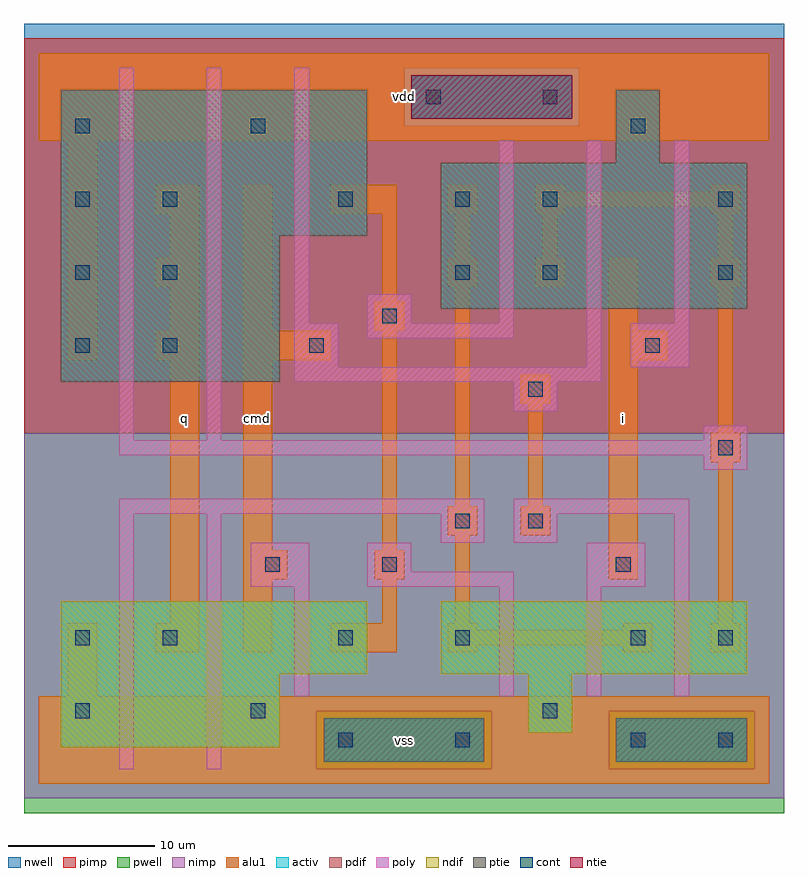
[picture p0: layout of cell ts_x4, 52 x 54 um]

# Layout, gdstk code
import gdstk
lib = gdstk.Library(unit=1e-6, precision=1e-09)
def R(c, l, rs):  # rectangles x0, y0, x1, y1
    for r in rs: c.add(gdstk.rectangle(r[:2], r[2:], *l))
def A(c, l, x, y, w, h, nx, ny, dx, dy):  # array of equal rectangles
    R(c, l, [(x+i*dx, y+j*dy, x+i*dx+w, y+j*dy+h) for i in range(nx) for j in range(ny)])
ndif = (3, 0)
pdif = (4, 0)
ntie = (5, 0)
ptie = (6, 0)
cont = (25, 0)
pwell = (41, 0)
nwell = (42, 0)
activ = (43, 0)
pimp = (44, 0)
nimp = (45, 0)
poly = (46, 0)
alu1 = (49, 0)

ts_x4 = lib.new_cell('ts_x4')
R(ts_x4, ndif, [(1.5,2.5,16.5,7.5), (33.5,3.5,36.5,7.5), (1.5,7.5,22.5,12.5), (27.5,7.5,48.5,12.5)])
R(ts_x4, pdif, [(1.5,27.5,16.5,37.5), (27.5,32.5,48.5,42.5), (1.5,37.5,22.5,47.5), (39.5,42.5,42.5,47.5)])
R(ts_x4, ntie, [(25.5,45.5,36.5,48.5)])
R(ts_x4, ptie, [(19.5,1.5,30.5,4.5), (39.5,1.5,48.5,4.5)])
A(ts_x4, cont, 2.5, 29.5, 1, 1, 1, 4, 0, 5)
A(ts_x4, cont, 8.5, 29.5, 1, 1, 1, 3, 0, 5)
R(ts_x4, cont, [(20.5,2.5,21.5,3.5), (28.5,2.5,29.5,3.5), (40.5,2.5,41.5,3.5), (46.5,2.5,47.5,3.5), (2.5,4.5,3.5,5.5), (14.5,4.5,15.5,5.5), (34.5,4.5,35.5,5.5), (2.5,9.5,3.5,10.5), (8.5,9.5,9.5,10.5), (20.5,9.5,21.5,10.5), (28.5,9.5,29.5,10.5), (40.5,9.5,41.5,10.5), (46.5,9.5,47.5,10.5), (15.5,14.5,16.5,15.5), (23.5,14.5,24.5,15.5), (39.5,14.5,40.5,15.5), (28.5,17.5,29.5,18.5), (33.5,17.5,34.5,18.5), (46.5,22.5,47.5,23.5), (33.5,26.5,34.5,27.5), (18.5,29.5,19.5,30.5), (41.5,29.5,42.5,30.5), (23.5,31.5,24.5,32.5), (28.5,34.5,29.5,35.5), (34.5,34.5,35.5,35.5), (46.5,34.5,47.5,35.5), (20.5,39.5,21.5,40.5), (28.5,39.5,29.5,40.5), (34.5,39.5,35.5,40.5), (46.5,39.5,47.5,40.5), (14.5,44.5,15.5,45.5), (40.5,44.5,41.5,45.5), (26.5,46.5,27.5,47.5), (34.5,46.5,35.5,47.5)])
R(ts_x4, pwell, [(-1,-2,51,24)])
R(ts_x4, nwell, [(-1,24,51,52)])
R(ts_x4, activ, [(19.5,1.5,30.5,4.5), (39.5,1.5,48.5,4.5), (1.5,2.5,16.5,7.5), (33.5,3.5,36.5,7.5), (1.5,7.5,22.5,12.5), (27.5,7.5,48.5,12.5), (1.5,27.5,16.5,37.5), (27.5,32.5,48.5,42.5), (1.5,37.5,22.5,47.5), (39.5,42.5,42.5,47.5), (25.5,45.5,36.5,48.5)])
R(ts_x4, pimp, [(19,1,31,5), (39,1,49,5), (-1,24,51,45), (-1,45,25,49), (37,45,51,49), (-1,49,51,51)])
R(ts_x4, nimp, [(-1,-1,51,1), (-1,1,19,5), (31,1,39,5), (49,1,51,5), (-1,5,51,24), (25,45,37,49)])
R(ts_x4, poly, [(5.5,1,6.5,18.5), (11.5,1,12.5,18.5), (17.5,6,18.5,13.5), (31.5,6,32.5,13.5), (37.5,6,38.5,13.5), (43.5,6,44.5,18.5), (14.5,13.5,18.5,16.5), (22.5,13.5,32.5,14.5), (37.5,13.5,41.5,16.5), (22.5,14.5,25.5,16.5), (27.5,16.5,30.5,18.5), (32.5,16.5,35.5,18.5), (5.5,18.5,30.5,19.5), (32.5,18.5,44.5,19.5), (45.5,21.5,48.5,22.5), (5.5,22.5,48.5,23.5), (5.5,23.5,6.5,49), (11.5,23.5,12.5,49), (45.5,23.5,48.5,24.5), (32.5,25.5,35.5,27.5), (17.5,27.5,38.5,28.5), (17.5,28.5,20.5,31.5), (37.5,28.5,38.5,44), (40.5,28.5,44.5,31.5), (22.5,30.5,32.5,31.5), (17.5,31.5,18.5,49), (22.5,31.5,25.5,33.5), (31.5,31.5,32.5,44), (43.5,31.5,44.5,44)])
A(ts_x4, alu1, 8, 29, 3, 2, 1, 3, 0, 5)
R(ts_x4, alu1, [(0,0,50,6), (2,6,4,11), (8,9,11,11), (14,9,16,14), (20,9,24.5,11), (28,9,30,9.5), (40,9,42,9.5), (46,9,48,11), (28,9.5,42,10.5), (28,10.5,30,11), (40,10.5,42,11), (9,11,11,29), (23.5,11,24.5,14), (28.5,11,29.5,17), (46.5,11,47.5,22), (14,14,17,16), (23,14,25,16), (39,14,41,29), (14,16,16,29), (23.5,16,24.5,31), (28,17,30,19), (33,17,35,19), (28.5,19,29.5,34), (33.5,19,34.5,26), (46,22,48,24), (46.5,24,47.5,34), (33,26,35,28), (2,29,4,44), (14,29,20,31), (39,29,43,31), (9,31,11,34), (14,31,16,41), (23,31,25,33), (39,31,41,36), (23.5,33,24.5,39), (28,34,30,36), (34,34,36,36), (46,34,48,36), (9,36,11,39), (28.5,36,29.5,39), (34.5,36,35.5,39), (46.5,36,47.5,39), (20,39,24.5,41), (28,39,30,41), (34,39,36,39.5), (46,39,48,39.5), (34,39.5,48,40.5), (34,40.5,36,41), (46,40.5,48,41), (0,44,50,50)])
ts_x4.add(gdstk.Label('q', (10,25), layer=49, texttype=0))
ts_x4.add(gdstk.Label('cmd', (15,25), layer=49, texttype=0))
ts_x4.add(gdstk.Label('vss', (25,3), layer=49, texttype=0))
ts_x4.add(gdstk.Label('vdd', (25,47), layer=49, texttype=0))
ts_x4.add(gdstk.Label('i', (40,25), layer=49, texttype=0))

lib.write_gds('ts_x4.gds')
